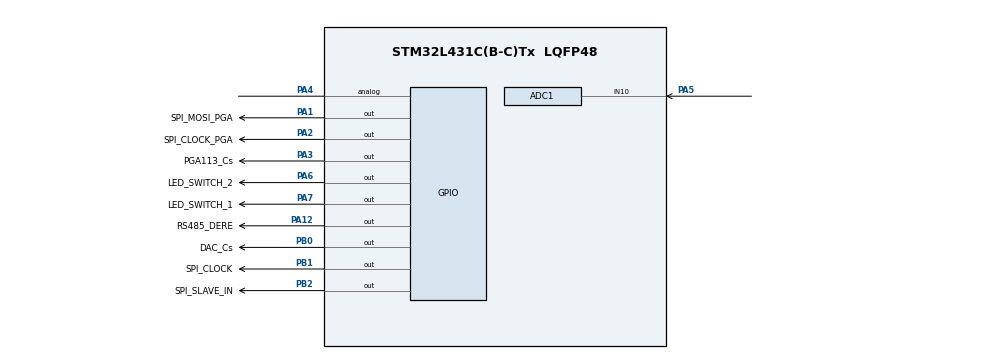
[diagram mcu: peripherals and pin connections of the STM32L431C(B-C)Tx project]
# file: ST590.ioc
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ADC1.Channel-0\#ChannelRegularConversion=ADC_CHANNEL_10
ADC1.NbrOfConversionFlag=1
ADC1.OffsetNumber-0\#ChannelRegularConversion=ADC_OFFSET_NONE
ADC1.Rank-0\#ChannelRegularConversion=1
ADC1.SamplingTime-0\#ChannelRegularConversion=ADC_SAMPLETIME_2CYCLES_5
ADC1.master=1
Mcu.Family=STM32L4
Mcu.Name=STM32L431C(B-C)Tx
Mcu.Package=LQFP48
NVIC.PriorityGroup=NVIC_PRIORITYGROUP_4
NVIC.TIM7_IRQn=true\:0\:0\:false\:false\:true\:true\:true
PA1.GPIO_Label=SPI_MOSI_PGA
PA1.GPIO_PuPd=GPIO_PULLUP
PA1.Signal=GPIO_Output
PA12.GPIO_Label=RS485_DERE
PA12.GPIO_PuPd=GPIO_PULLUP
PA12.Signal=GPIO_Output
PA2.GPIO_Label=SPI_CLOCK_PGA
PA2.Signal=GPIO_Output
PA3.GPIO_Label=PGA113_Cs
PA3.Signal=GPIO_Output
PA4.Signal=GPIO_Analog
PA5.Signal=ADCx_IN10
PA6.GPIO_Label=LED_SWITCH_2
PA6.GPIO_PuPd=GPIO_PULLUP
PA6.PinState=GPIO_PIN_SET
PA6.Signal=GPIO_Output
PA7.GPIO_Label=LED_SWITCH_1
PA7.GPIO_PuPd=GPIO_PULLUP
PA7.Signal=GPIO_Output
PB0.GPIO_Label=DAC_Cs
PB0.Signal=GPIO_Output
PB1.GPIO_Label=SPI_CLOCK
PB1.GPIO_PuPd=GPIO_PULLUP
PB1.PinState=GPIO_PIN_SET
PB1.Signal=GPIO_Output
PB2.GPIO_Label=SPI_SLAVE_IN
PB2.GPIO_PuPd=GPIO_PULLUP
PB2.Signal=GPIO_Output
PH0-OSC_IN\ (PH0).Mode=HSE-External-Oscillator
PH0-OSC_IN\ (PH0).Signal=RCC_OSC_IN
PH1-OSC_OUT\ (PH1).Mode=HSE-External-Oscillator
PH1-OSC_OUT\ (PH1).Signal=RCC_OSC_OUT
ProjectManager.HeapSize=0x200
ProjectManager.StackSize=0x400
ProjectManager.TargetToolchain=MDK-ARM V5.27
RCC.ADCFreq_Value=32000000
RCC.AHBFreq_Value=80000000
RCC.APB1Freq_Value=80000000
RCC.APB1TimFreq_Value=80000000
RCC.APB2Freq_Value=80000000
RCC.APB2TimFreq_Value=80000000
RCC.CortexFreq_Value=80000000
RCC.HCLKFreq_Value=80000000
RCC.HSE_VALUE=8000000
RCC.HSI48_VALUE=48000000
RCC.HSI_VALUE=16000000
RCC.LSE_VALUE=32768
RCC.MSI_VALUE=4000000
RCC.PLLN=20
RCC.PLLSourceVirtual=RCC_PLLSOURCE_HSE
RCC.SYSCLKFreq_VALUE=80000000
RCC.SYSCLKSource=RCC_SYSCLKSOURCE_PLLCLK
RCC.VCOOutputFreq_Value=160000000
SH.ADCx_IN10.0=ADC1_IN10,IN10-Single-Ended
TIM7.Period=9998
TIM7.Prescaler=7200
VP_IWDG_VS_IWDG.Mode=IWDG_Activate
VP_TIM7_VS_ClockSourceINT.Mode=Enable_Timer
board=custom

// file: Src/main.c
/* USER CODE BEGIN Header */
/**
 ******************************************************************************
 * @file           : main.c
 * @brief          : Main program body
 ******************************************************************************
 * @attention
 *
 * <h2><center>&copy; Copyright (c) 2020 STMicroelectronics.
 * All rights reserved.</center></h2>
 *
 * This software component is licensed by ST under BSD 3-Clause license,
 * the "License"; You may not use this file except in compliance with the
 * License. You may obtain a copy of the License at:
 *                        opensource.org/licenses/BSD-3-Clause
 *
 ******************************************************************************
 */
/* USER CODE END Header */

#include "main.h"
#include "adc.h"
#include "iwdg.h"
#include "tim.h"
#include "gpio.h"

/* USER CODE BEGIN Includes */

#include "port.h"
#include "mb.h"
#include "measure.h"
#include "stdio.h"
/* USER CODE END Includes */

/* USER CODE BEGIN PTD */
LL_RCC_ClocksTypeDef RCC_Clocks;

MEASURE_VALUES_T measure_values;
SYS_STATUS_T system_status;
MEASURE_SETTINGS_T measure_settings;
PH_ORP_PARAM_T ph_orp_param;
COMM_SETTINGS_T comm_settings;
// PH_ORP_PARAM_T  pH_ORP_Param;
CALIB_SETTINGS_T calib_settings;
FILTER_SETTINGS_T filter_settings;
uint8_t flag = 0, flag1 = 0;
uint16_t adc_rst_arry_test[10];
uint8_t MEASURE_FLAG = 0;
/* USER CODE END PTD */

void SystemClock_Config(void);
/* USER CODE BEGIN PFP */
void USART_SEND_DATA(uint8_t DATA);
void UART1_SEND_CHAR(char *str);
int fputc(int ch, FILE *f);
void measure_d8(void);
/* USER CODE END PFP */

/* USER CODE BEGIN 0 */
char adc_arry[10];
void checkModbusCommand(void);
static const uint16_t usGain[] = {1, 2, 5, 10, 20, 50, 100, 200};

#define GAIN (1)

/* USER CODE END 0 */

int main(void)
{
  /* USER CODE BEGIN 1 */
  SCB->VTOR = FLASH_BASE | 0x05000; //����APP������ַ
  /* USER CODE END 1 */

  /* MCU Configuration--------------------------------------------------------*/

  /* Reset of all peripherals, Initializes the Flash interface and the Systick. */
  HAL_Init();

  /* Configure the system clock */
  SystemClock_Config();

  /* USER CODE BEGIN SysInit */
  LL_RCC_GetSystemClocksFreq(&RCC_Clocks);
  /* USER CODE END SysInit */

  /* Initialize all configured peripherals */
  MX_GPIO_Init();
  MX_ADC1_Init();
  MX_TIM7_Init();
  MX_IWDG_Init();
  /* USER CODE BEGIN 2 */
  PowerOn_ReadModbusReg();
  LTC2630ISC6_init();
  LL_TIM_TIM7_ENABLE();

  // PowerOn_ReadModbusReg();
  eMBInit(MB_RTU, 45, 0, 9600, MB_PAR_EVEN);

  /*Enable Modbus protocol stack*/
  eMBEnable();
  // RS485_SEND_EN();
  if (system_status.newStructFlg != 0X55)
  {
    ParaInit();
  }
  //  StoreModbusRegs();
  uint16_t usDark[2] = {0};
  uint16_t usT365[2] = {0};
  /* USER CODE END 2 */

  /* Infinite loop */
  while (1)
  {

    /* USER CODE BEGIN 3 */
    eMBPoll();
    if (MEASURE_FLAG > 3)
    {
      LL_USART_Disable(USART1);
      configPGA113(ch0, ph_orp_param.t365Gain);
      Open_ADC(ADC1);
      usDark[0] = getAD_result() * GAIN;
      turn_on_led_d10();
      write_to_LTC2630ISC6(LTC2630ISC6_WRITE_TO_AND_UPDATE, ph_orp_param.ct365);
      delay_ms(50);
      Open_ADC(ADC1);
      usT365[0] = getAD_result() * GAIN - usDark[0];
//      usT365[0] = getAD_result();
      // write_to_LTC2630ISC6(LTC2630ISC6_WRITE_TO_AND_UPDATE,0);
      // measure_d8();
      MEASURE_FLAG = 0;
      turn_off_led();
      /***********************************************************************/
      if (ph_orp_param.usAutoGain == 0)
      {
        ph_orp_param.dark = usDark[0] * 2;  //此处PGA113的ref没有接地使用，是的信号可变为6000
        ph_orp_param.t365 = usT365[0] * 2;
        ph_orp_param.usGain1T365 = 0;
        ph_orp_param.usGain2T365 = 0;
      }
      else //开启自动量程
      {
        uint16_t usGainindex2 = ph_orp_param.t365Gain + 1;

        configPGA113(ch0, usGainindex2); //增加一个档位
        Open_ADC(ADC1);
        usDark[1] = getAD_result() * GAIN;
        turn_on_led_d10();
        write_to_LTC2630ISC6(LTC2630ISC6_WRITE_TO_AND_UPDATE, ph_orp_param.ct365);
        delay_ms(50);
        Open_ADC(ADC1);
        usT365[1] = getAD_result() * GAIN - usDark[1];
        // write_to_LTC2630ISC6(LTC2630ISC6_WRITE_TO_AND_UPDATE,0);
        // measure_d8();
        MEASURE_FLAG = 0;
        turn_off_led();

        if (usGainindex2 < (sizeof(usGain) / sizeof(uint16_t)))
        {
          if (usT365[0] > ph_orp_param.usAutoSAT) //超过设置的饱和值,就用低量程X倍数(高增益/低增益)
          {
            ph_orp_param.dark = usDark[0] * usGain[usGainindex2] / usGain[ph_orp_param.t365Gain];
            ph_orp_param.t365 = usT365[0] * usGain[usGainindex2] / usGain[ph_orp_param.t365Gain];
          }
          else //没超过设置饱和值，就用高增益测量值
          {
            ph_orp_param.dark = usDark[1];
            ph_orp_param.t365 = usT365[1];
          }

          ph_orp_param.usGain1T365 = usT365[0];
          ph_orp_param.usGain2T365 = usT365[1];
        }
        else
        {
          ph_orp_param.dark = usDark[0];
          ph_orp_param.t365 = usT365[0];
          ph_orp_param.usGain1T365 = usT365[0];
          ph_orp_param.usGain2T365 = usT365[0];
        }
      }
      /****************************************************************************/
      if (ph_orp_param.startNum == 1)
      {
        ph_orp_param.startNum = 0;
        __disable_irq();
        StoreModbusRegs();
        __enable_irq();
      }
      HAL_IWDG_Refresh(&hiwdg);
      LL_USART_Enable(USART1);
    }
    //	ITM_SendChar(0x55);     //û��JTDO �޷�ʹ��ITM����
  }
  /* USER CODE END 3 */
}

void SystemClock_Config(void)
{
  LL_FLASH_SetLatency(LL_FLASH_LATENCY_4);

  if (LL_FLASH_GetLatency() != LL_FLASH_LATENCY_4)
  {
    Error_Handler();
  }
  LL_PWR_SetRegulVoltageScaling(LL_PWR_REGU_VOLTAGE_SCALE1);
  LL_RCC_HSE_Enable();

  /* Wait till HSE is ready */
  while (LL_RCC_HSE_IsReady() != 1)
  {
  }
  LL_RCC_LSI_Enable();

  /* Wait till LSI is ready */
  while (LL_RCC_LSI_IsReady() != 1)
  {
  }
  LL_RCC_PLL_ConfigDomain_SYS(LL_RCC_PLLSOURCE_HSE, LL_RCC_PLLM_DIV_1, 20, LL_RCC_PLLR_DIV_2);
  LL_RCC_PLL_EnableDomain_SYS();
  LL_RCC_PLL_Enable();

  /* Wait till PLL is ready */
  while (LL_RCC_PLL_IsReady() != 1)
  {
  }
  LL_RCC_PLLSAI1_ConfigDomain_ADC(LL_RCC_PLLSOURCE_HSE, LL_RCC_PLLM_DIV_1, 8, LL_RCC_PLLSAI1R_DIV_2);
  LL_RCC_PLLSAI1_EnableDomain_ADC();
  LL_RCC_PLLSAI1_Enable();

  /* Wait till PLLSAI1 is ready */
  while (LL_RCC_PLLSAI1_IsReady() != 1)
  {
  }
  LL_RCC_SetSysClkSource(LL_RCC_SYS_CLKSOURCE_PLL);

  /* Wait till System clock is ready */
  while (LL_RCC_GetSysClkSource() != LL_RCC_SYS_CLKSOURCE_STATUS_PLL)
  {
  }
  LL_RCC_SetAHBPrescaler(LL_RCC_SYSCLK_DIV_1);
  LL_RCC_SetAPB1Prescaler(LL_RCC_APB1_DIV_1);
  LL_RCC_SetAPB2Prescaler(LL_RCC_APB2_DIV_1);
  LL_SetSystemCoreClock(80000000);

  /* Update the time base */
  if (HAL_InitTick(TICK_INT_PRIORITY) != HAL_OK)
  {
    Error_Handler();
  };
  LL_RCC_SetADCClockSource(LL_RCC_ADC_CLKSOURCE_PLLSAI1);
}

/* USER CODE BEGIN 4 */

int fputc(int ch, FILE *f)
{
  return (ch);
}
void USART_SEND_DATA(uint8_t DATA)
{
  RS485_SEND_EN();
  LL_USART_TransmitData8(USART1, DATA);
  while (LL_USART_IsActiveFlag_TC(USART1) == RESET)
  {
    ;
  }
}
void UART1_SEND_CHAR(char *str)
{
  while (*str)
  {
    LL_USART_TransmitData8(USART1, *str);
    while (LL_USART_IsActiveFlag_TC(USART1) == RESET)
    {
      ;
    }
    //��ֻ�������һ���ַ������ǣ�
    str++;
  }
}

void measure_tim7_IRQ()
{
  MEASURE_FLAG++;
  if (MEASURE_FLAG == 10)
  {
    MEASURE_FLAG = 0;
  }
  LL_TIM_ClearFlag_UPDATE(TIM7);
}

void measure_d8(void)
{
  configPGA113(ch0, ph_orp_param.t410Gain);
  Open_ADC(ADC1);
  delay_ms(2);
  ph_orp_param.t410dark = getAD_result();
  turn_on_led_d8();
  write_to_LTC2630ISC6(LTC2630ISC6_WRITE_TO_AND_UPDATE, ph_orp_param.ct410);
  delay_ms(50);
  Open_ADC(ADC1);
  ph_orp_param.t410 = getAD_result() - ph_orp_param.t410dark;
  write_to_LTC2630ISC6(LTC2630ISC6_WRITE_TO_AND_UPDATE, 0);
  turn_off_led();
}

void checkModbusCommand(void)
{
}
/* USER CODE END 4 */

void Error_Handler(void)
{
}

/************************ (C) COPYRIGHT STMicroelectronics *****END OF FILE****/
